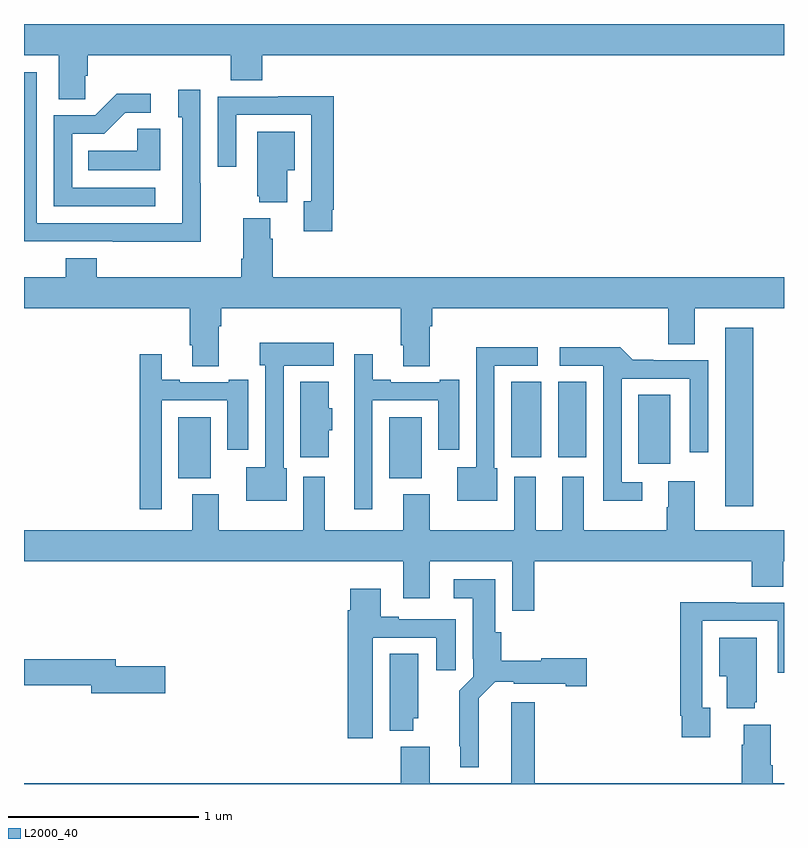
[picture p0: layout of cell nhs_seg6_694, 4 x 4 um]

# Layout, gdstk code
import gdstk
lib = gdstk.Library(unit=1e-6, precision=1e-09)
def R(c, l, rs):  # rectangles x0, y0, x1, y1
    for r in rs: c.add(gdstk.rectangle(r[:2], r[2:], *l))
def P(c, l, *ps):  # polygons
    for p in ps: c.add(gdstk.Polygon(p, *l))
L2000_40 = (2000, 40)

nhs_seg6_694 = lib.new_cell('nhs_seg6_694')
R(nhs_seg6_694, L2000_40, [(158.69,944.961,158.837,945.901), (155.813,945.11,155.983,945.43), (156.923,945.11,157.093,945.43), (158.234,945.186,158.401,945.548), (157.565,945.219,157.723,945.617), (157.811,945.219,157.96,945.617)])
P(nhs_seg6_694, L2000_40, [(155.322,947.227),(155.336,947.227),(155.336,947.336),(156.089,947.336),(156.089,947.203),(156.254,947.203),(156.254,947.336),(159,947.336),(159,947.5),(155,947.5),(155,947.336),(155.183,947.336),(155.183,947.104),(155.322,947.104)],
  [(155.931,946.661),(155.928,946.661),(155.928,947.155),(155.813,947.155),(155.813,947.01),(155.832,947.01),(155.832,946.452),(155.067,946.452),(155.067,947.247),(155,947.247),(155,946.356),(155.467,946.356),(155.467,946.355),(155.931,946.355)],
  [(155.692,946.638),(155.253,946.638),(155.253,946.923),(155.422,946.923),(155.533,947.034),(155.668,947.034),(155.668,947.132),(155.489,947.132),(155.376,947.019),(155.157,947.019),(155.157,946.542),(155.692,946.542)],
  [(156.622,946.522),(156.629,946.522),(156.629,947.12),(156.337,947.12),(156.337,947.118),(156.021,947.118),(156.021,946.749),(156.117,946.749),(156.117,947.022),(156.513,947.022),(156.513,946.566),(156.473,946.566),(156.473,946.41),(156.622,946.41)],
  [(155.716,946.949),(155.595,946.949),(155.595,946.834),(155.338,946.834),(155.338,946.73),(155.716,946.73)],
  [(156.385,946.73),(156.424,946.73),(156.424,946.933),(156.227,946.933),(156.227,946.593),(156.239,946.593),(156.239,946.562),(156.385,946.562)],
  [(156.025,945.908),(156.038,945.908),(156.038,946.004),(156.983,946.004),(156.983,945.808),(156.995,945.808),(156.995,945.7),(157.135,945.7),(157.135,945.908),(157.148,945.908),(157.148,946.004),(158.39,946.004),(158.39,945.814),(158.53,945.814),(158.53,946.004),(159,946.004),(159,946.168),(156.308,946.168),(156.308,946.37),(156.295,946.37),(156.295,946.477),(156.155,946.477),(156.155,946.264),(156.143,946.264),(156.143,946.168),(155.384,946.168),(155.384,946.267),(155.219,946.267),(155.219,946.168),(155,946.168),(155,946.004),(155.873,946.004),(155.873,945.808),(155.885,945.808),(155.885,945.7),(156.025,945.7)],
  [(156.382,945.162),(156.366,945.162),(156.366,945.701),(156.631,945.701),(156.631,945.823),(156.242,945.823),(156.242,945.705),(156.27,945.705),(156.27,945.166),(156.17,945.166),(156.17,944.99),(156.382,944.99)],
  [(158.254,945.087),(158.145,945.087),(158.145,945.633),(158.505,945.633),(158.505,945.246),(158.601,945.246),(158.601,945.729),(158.311,945.729),(158.311,945.734),(158.203,945.734),(158.138,945.8),(157.821,945.8),(157.821,945.702),(158.049,945.702),(158.049,944.99),(158.254,944.99)],
  [(157.492,945.162),(157.476,945.162),(157.476,945.702),(157.705,945.702),(157.705,945.8),(157.38,945.8),(157.38,945.166),(157.28,945.166),(157.28,944.99),(157.492,944.99)],
  [(155.724,945.519),(156.071,945.519),(156.071,945.258),(156.181,945.258),(156.181,945.628),(156.077,945.628),(156.077,945.615),(155.821,945.615),(155.821,945.628),(155.725,945.628),(155.725,945.763),(155.608,945.763),(155.608,944.946),(155.724,944.946)],
  [(156.834,945.519),(157.181,945.519),(157.181,945.258),(157.291,945.258),(157.291,945.628),(157.187,945.628),(157.187,945.615),(156.931,945.615),(156.931,945.628),(156.835,945.628),(156.835,945.763),(156.737,945.763),(156.737,945.522),(156.738,945.522),(156.738,945.231),(156.737,945.231),(156.737,944.946),(156.834,944.946)],
  [(156.604,945.363),(156.622,945.363),(156.622,945.477),(156.604,945.477),(156.604,945.616),(156.455,945.616),(156.455,945.219),(156.604,945.219)],
  [(157.685,944.672),(158.831,944.672),(158.831,944.539),(158.996,944.539),(158.996,944.672),(159,944.672),(159,944.836),(158.53,944.836),(158.53,945.094),(158.39,945.094),(158.39,944.957),(158.383,944.957),(158.383,944.836),(157.945,944.836),(157.945,945.118),(157.832,945.118),(157.832,944.836),(157.693,944.836),(157.693,945.118),(157.58,945.118),(157.58,944.836),(157.135,944.836),(157.135,945.025),(156.995,945.025),(156.995,944.836),(156.583,944.836),(156.583,945.118),(156.47,945.118),(156.47,944.836),(156.025,944.836),(156.025,945.025),(155.885,945.025),(155.885,944.836),(155,944.836),(155,944.672),(156.995,944.672),(156.995,944.478),(157.135,944.478),(157.135,944.672),(157.569,944.672),(157.569,944.412),(157.685,944.412)],
  [(157.393,943.952),(157.479,944.039),(157.578,944.039),(157.578,944.027),(157.85,944.027),(157.85,944.015),(157.963,944.015),(157.963,944.162),(157.722,944.162),(157.722,944.149),(157.511,944.149),(157.511,944.298),(157.48,944.298),(157.48,944.578),(157.263,944.578),(157.263,944.477),(157.361,944.477),(157.361,944.158),(157.365,944.158),(157.365,944.064),(157.291,943.99),(157.291,943.699),(157.295,943.699),(157.295,943.589),(157.393,943.589)],
  [(156.835,944.271),(157.169,944.271),(157.169,944.1),(157.273,944.1),(157.273,944.367),(156.973,944.367),(156.973,944.38),(156.877,944.38),(156.877,944.527),(156.716,944.527),(156.716,944.414),(156.704,944.414),(156.704,943.74),(156.835,943.74)],
  [(158.611,943.902),(158.571,943.902),(158.571,944.358),(158.967,944.358),(158.967,944.085),(159,944.085),(159,944.454),(158.747,944.454),(158.747,944.456),(158.455,944.456),(158.455,943.858),(158.463,943.858),(158.463,943.746),(158.611,943.746)],
  [(158.846,943.929),(158.857,943.929),(158.857,944.269),(158.66,944.269),(158.66,944.066),(158.699,944.066),(158.699,943.898),(158.846,943.898)],
  [(157.048,943.845),(157.075,943.845),(157.075,944.186),(156.926,944.186),(156.926,943.781),(157.048,943.781)],
  [(155.743,944.12),(155.482,944.12),(155.482,944.156),(155,944.156),(155,944.02),(155.354,944.02),(155.354,943.978),(155.743,943.978)],
  [(155,943.5),(159,943.5),(159,943.504),(158.942,943.504),(158.942,943.6),(158.929,943.6),(158.929,943.813),(158.789,943.813),(158.789,943.706),(158.777,943.706),(158.777,943.504),(157.688,943.504),(157.688,943.93),(157.565,943.93),(157.565,943.504),(157.135,943.504),(157.135,943.696),(156.983,943.696),(156.983,943.504),(155,943.504)])

lib.write_gds('nhs_seg6_694.gds')
